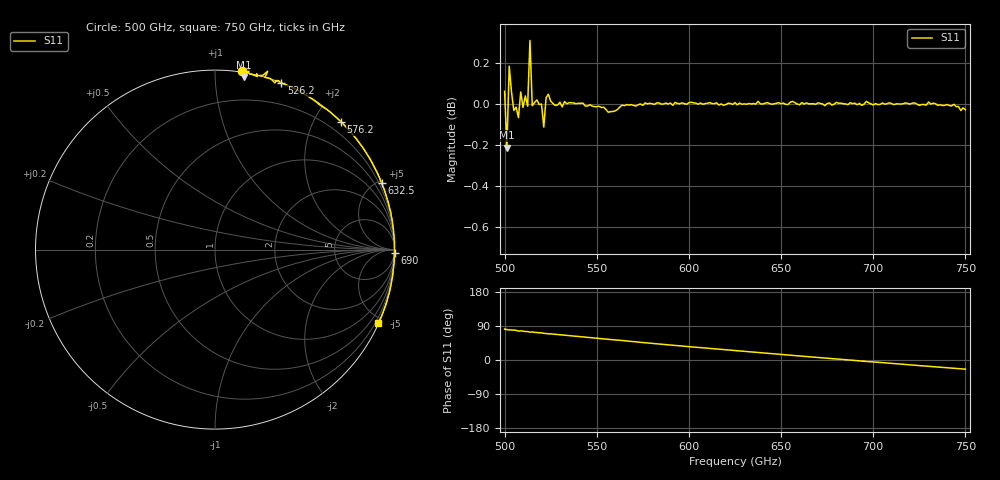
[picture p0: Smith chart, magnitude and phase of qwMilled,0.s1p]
!Created with mwavepy.
# GHz S RI R 50.0
!freq	ReS11	ImS11
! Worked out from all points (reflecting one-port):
!   201 points, 500 GHz to 750 GHz, reference 50 ohm
!   lowest |S11| = -0.2 dB at 501.2 GHz (marker M1), VSWR 81.57, Z = 1.47 + j59.1 ohm
!   phase of S11 starts at 81 deg and turns -106 deg over the sweep
!   S11 on the Smith chart (normalised r, x): 500 GHz: -0.01, +1.16; 526.2 GHz: -0.00, +1.47; 576.2 GHz: -0.00, +2.39; 632.5 GHz: -0.00, +5.22; 690 GHz: -1, -96; 750 GHz: 0.04, -4.66
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500  0.1491 0.9959
! Port Impedance 50.00000000000000 0.00000000000000
501.25  0.1617 0.9623
502.5  0.1916 1.003
503.75  0.1856 0.9892
506.25  0.2021 0.9774
507.5  0.2357 0.9638
508.75  0.2317 0.9796
511.25  0.2579 0.9707
512.5  0.258 0.9647
513.75  0.2938 0.9935
515  0.2781 0.9594
520  0.3137 0.9493
521.25  0.3336 0.9289
522.5  0.3444 0.9425
526.25  0.3692 0.9295
531.25  0.4043 0.9127
548.75  0.5343 0.8433
562.5  0.6169 0.7847
576.25  0.7024 0.7124
593.75  0.7894 0.6142
611.25  0.863 0.5065
625  0.9085 0.4196
632.5  0.9292 0.3698
656.25  0.9796 0.2076
687.5  1.001 -0.00355
690  1 -0.0208
718.75  0.9769 -0.214
750  0.9089 -0.4089
